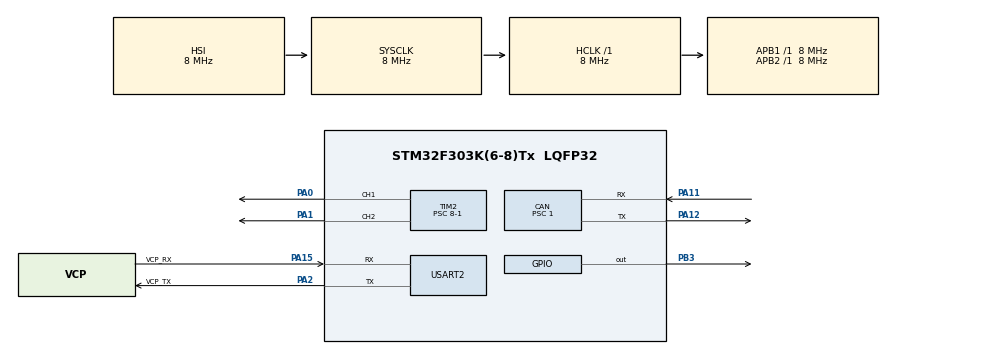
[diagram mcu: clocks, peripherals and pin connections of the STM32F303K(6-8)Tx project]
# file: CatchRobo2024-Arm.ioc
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CAN.BS1=CAN_BS1_3TQ
CAN.BS2=CAN_BS2_4TQ
CAN.CalculateBaudRate=1000000
CAN.CalculateTimeBit=1000
CAN.CalculateTimeQuantum=125.0
CAN.Prescaler=1
Mcu.Family=STM32F3
Mcu.Name=STM32F303K(6-8)Tx
Mcu.Package=LQFP32
NVIC.CAN_RX0_IRQn=true\:0\:0\:false\:false\:true\:true\:true\:true
NVIC.CAN_RX1_IRQn=true\:0\:0\:false\:false\:true\:true\:true\:true
NVIC.PriorityGroup=NVIC_PRIORITYGROUP_4
NVIC.TIM7_DAC2_IRQn=true\:15\:0\:false\:false\:true\:false\:true\:true
NVIC.TimeBase=TIM7_DAC2_IRQn
NVIC.TimeBaseIP=TIM7
PA0.Signal=S_TIM2_CH1_ETR
PA1.Signal=S_TIM2_CH2
PA11.Mode=CAN_Activate
PA11.Signal=CAN_RX
PA12.Mode=CAN_Activate
PA12.Signal=CAN_TX
PA13.GPIO_Label=SWDIO
PA13.Mode=Serial_Wire
PA13.Signal=SYS_JTMS-SWDIO
PA14.GPIO_Label=SWCLK
PA14.Mode=Serial_Wire
PA14.Signal=SYS_JTCK-SWCLK
PA15.GPIO_Label=VCP_RX
PA15.Mode=Asynchronous
PA15.Signal=USART2_RX
PA2.GPIO_Label=VCP_TX
PA2.Mode=Asynchronous
PA2.Signal=USART2_TX
PB3.Signal=GPIO_Output
PF0\ /\ OSC_IN.GPIO_Label=MCO
PF0\ /\ OSC_IN.Mode=HSE-External-Clock-Source
PF0\ /\ OSC_IN.Signal=RCC_OSC_IN
ProjectManager.HeapSize=0x200
ProjectManager.StackSize=0x400
ProjectManager.TargetToolchain=CMake
RCC.AHBFreq_Value=8000000
RCC.APB1Freq_Value=8000000
RCC.APB1TimFreq_Value=8000000
RCC.APB2Freq_Value=8000000
RCC.APB2TimFreq_Value=8000000
RCC.CortexFreq_Value=8000000
RCC.HCLKFreq_Value=8000000
RCC.HSE_VALUE=10000000
RCC.HSI_VALUE=8000000
RCC.PLLSourceVirtual=RCC_PLLSOURCE_HSE
RCC.SYSCLKFreq_VALUE=8000000
SH.S_TIM2_CH1_ETR.0=TIM2_CH1,PWM Generation1 CH1
SH.S_TIM2_CH2.0=TIM2_CH2,PWM Generation2 CH2
TIM2.Channel-PWM\ Generation1\ CH1=TIM_CHANNEL_1
TIM2.Channel-PWM\ Generation2\ CH2=TIM_CHANNEL_2
TIM2.Period=2500-1
TIM2.Prescaler=8-1
USART2.VirtualMode-Asynchronous=VM_ASYNC
VP_SYS_VS_tim7.Mode=TIM7
board=NUCLEO-F303K8

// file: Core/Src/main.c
/* USER CODE BEGIN Header */
/**
  ******************************************************************************
  * @file           : main.c
  * @brief          : Main program body
  ******************************************************************************
  * @attention
  *
  * Copyright (c) 2024 STMicroelectronics.
  * All rights reserved.
  *
  * This software is licensed under terms that can be found in the LICENSE file
  * in the root directory of this software component.
  * If no LICENSE file comes with this software, it is provided AS-IS.
  *
  ******************************************************************************
  */
/* USER CODE END Header */
#include "main.h"

/* USER CODE BEGIN PM */
#define PWM_RATIO 18
#define MAX_PWM_WIDTH 1800
#define MIN_PWM_WIDTH 1000
/* USER CODE END PM */

CAN_HandleTypeDef hcan;

TIM_HandleTypeDef htim2;

UART_HandleTypeDef huart2;

void SystemClock_Config(void);
static void MX_GPIO_Init(void);
static void MX_USART2_UART_Init(void);
static void MX_CAN_Init(void);
static void MX_TIM2_Init(void);

int main(void)
{

  /* MCU Configuration--------------------------------------------------------*/

  /* Reset of all peripherals, Initializes the Flash interface and the Systick. */
  HAL_Init();

  /* Configure the system clock */
  SystemClock_Config();

  /* Initialize all configured peripherals */
  MX_GPIO_Init();
  MX_USART2_UART_Init();
  MX_CAN_Init();
  MX_TIM2_Init();
  /* USER CODE BEGIN 2 */
  HAL_TIM_PWM_Start(&htim2, TIM_CHANNEL_1);
  HAL_TIM_PWM_Start(&htim2, TIM_CHANNEL_2);

  /* common valiables */
  uint8_t propeller_flag = 0;
  uint16_t arg_data = 0;
  uint16_t servo_pw = 0;

  uint16_t propeller_speed_pw = 0;

  uint8_t TxData[8];
  uint8_t RxData[3];

  /* CAN SetUp */
  HAL_CAN_Start(&hcan);

  CAN_TxHeaderTypeDef TxHeader;
  uint32_t TxMailbox;
  CAN_RxHeaderTypeDef RxHeader;
  CAN_FilterTypeDef filter;
  uint32_t DataId1 = 0x100 << 21;
  uint32_t DataId2 = 0x000 << 21;

  TxHeader.StdId = 0x200;
  TxHeader.RTR = CAN_RTR_DATA;
  TxHeader.IDE = CAN_ID_STD;
  TxHeader.DLC = 8;
  TxHeader.TransmitGlobalTime = DISABLE;

  TxData[0] = 0;
  TxData[1] = 0;
  TxData[2] = 0;
  TxData[3] = 0;
  TxData[4] = 0;
  TxData[5] = 0;
  TxData[6] = 0;
  TxData[7] = 0;

  filter.FilterIdHigh = DataId1 >> 16;
  filter.FilterIdLow  = DataId1;
  filter.FilterMaskIdHigh = DataId2 >> 16;
  filter.FilterMaskIdLow  = DataId2;
  filter.FilterScale = CAN_FILTERSCALE_32BIT;
  filter.FilterFIFOAssignment = CAN_FILTER_FIFO0;
  filter.FilterBank = 0;
  filter.FilterMode = CAN_FILTERMODE_IDLIST;
  filter.SlaveStartFilterBank = 14;
  filter.FilterActivation = ENABLE;

  HAL_CAN_ConfigFilter(&hcan, &filter);

  /* BLDC SetUp */
  // HAL_Delay(1500);
  TIM2->CCR2 = MAX_PWM_WIDTH;
  HAL_Delay(2000);
  TIM2->CCR1 = MIN_PWM_WIDTH;
  HAL_Delay(2000);

  /* USER CODE END 2 */

  /* Infinite loop */
  while (1)
  {

    /* USER CODE BEGIN 3 */

    if (HAL_CAN_GetRxMessage(&hcan, CAN_RX_FIFO0, &RxHeader, RxData) == HAL_OK) {
      arg_data = RxData[0] & 0x7f;
      servo_pw = arg_data * PWM_RATIO;

      propeller_flag = (RxData[0] >> 7) & 0xff;

      TxData[0] = RxData[1];
      TxData[1] = RxData[2];

      HAL_GPIO_TogglePin(GPIOB, GPIO_PIN_3);
    }

    if (HAL_CAN_GetTxMailboxesFreeLevel(&hcan) > 0) {
      TIM2->CCR1 = servo_pw;

      if (propeller_flag) {
        TIM2->CCR2 = MAX_PWM_WIDTH;
      }
      else {
        TIM2->CCR2 = MIN_PWM_WIDTH;
      }

      HAL_CAN_AddTxMessage(&hcan, &TxHeader, TxData, &TxMailbox);
    }

    HAL_Delay(50);

  }
  /* USER CODE END 3 */
}

void SystemClock_Config(void)
{
  RCC_OscInitTypeDef RCC_OscInitStruct = {0};
  RCC_ClkInitTypeDef RCC_ClkInitStruct = {0};

  /** Initializes the RCC Oscillators according to the specified parameters
  * in the RCC_OscInitTypeDef structure.
  */
  RCC_OscInitStruct.OscillatorType = RCC_OSCILLATORTYPE_HSI;
  RCC_OscInitStruct.HSIState = RCC_HSI_ON;
  RCC_OscInitStruct.HSICalibrationValue = RCC_HSICALIBRATION_DEFAULT;
  RCC_OscInitStruct.PLL.PLLState = RCC_PLL_NONE;
  if (HAL_RCC_OscConfig(&RCC_OscInitStruct) != HAL_OK)
  {
    Error_Handler();
  }

  /** Initializes the CPU, AHB and APB buses clocks
  */
  RCC_ClkInitStruct.ClockType = RCC_CLOCKTYPE_HCLK|RCC_CLOCKTYPE_SYSCLK
                              |RCC_CLOCKTYPE_PCLK1|RCC_CLOCKTYPE_PCLK2;
  RCC_ClkInitStruct.SYSCLKSource = RCC_SYSCLKSOURCE_HSI;
  RCC_ClkInitStruct.AHBCLKDivider = RCC_SYSCLK_DIV1;
  RCC_ClkInitStruct.APB1CLKDivider = RCC_HCLK_DIV1;
  RCC_ClkInitStruct.APB2CLKDivider = RCC_HCLK_DIV1;

  if (HAL_RCC_ClockConfig(&RCC_ClkInitStruct, FLASH_LATENCY_0) != HAL_OK)
  {
    Error_Handler();
  }
}

static void MX_CAN_Init(void)
{

  hcan.Instance = CAN;
  hcan.Init.Prescaler = 1;
  hcan.Init.Mode = CAN_MODE_NORMAL;
  hcan.Init.SyncJumpWidth = CAN_SJW_1TQ;
  hcan.Init.TimeSeg1 = CAN_BS1_3TQ;
  hcan.Init.TimeSeg2 = CAN_BS2_4TQ;
  hcan.Init.TimeTriggeredMode = DISABLE;
  hcan.Init.AutoBusOff = DISABLE;
  hcan.Init.AutoWakeUp = DISABLE;
  hcan.Init.AutoRetransmission = DISABLE;
  hcan.Init.ReceiveFifoLocked = DISABLE;
  hcan.Init.TransmitFifoPriority = DISABLE;
  if (HAL_CAN_Init(&hcan) != HAL_OK)
  {
    Error_Handler();
  }

}

static void MX_TIM2_Init(void)
{

  TIM_MasterConfigTypeDef sMasterConfig = {0};
  TIM_OC_InitTypeDef sConfigOC = {0};

  htim2.Instance = TIM2;
  htim2.Init.Prescaler = 8-1;
  htim2.Init.CounterMode = TIM_COUNTERMODE_UP;
  htim2.Init.Period = 2500-1;
  htim2.Init.ClockDivision = TIM_CLOCKDIVISION_DIV1;
  htim2.Init.AutoReloadPreload = TIM_AUTORELOAD_PRELOAD_DISABLE;
  if (HAL_TIM_PWM_Init(&htim2) != HAL_OK)
  {
    Error_Handler();
  }
  sMasterConfig.MasterOutputTrigger = TIM_TRGO_RESET;
  sMasterConfig.MasterSlaveMode = TIM_MASTERSLAVEMODE_DISABLE;
  if (HAL_TIMEx_MasterConfigSynchronization(&htim2, &sMasterConfig) != HAL_OK)
  {
    Error_Handler();
  }
  sConfigOC.OCMode = TIM_OCMODE_PWM1;
  sConfigOC.Pulse = 0;
  sConfigOC.OCPolarity = TIM_OCPOLARITY_HIGH;
  sConfigOC.OCFastMode = TIM_OCFAST_DISABLE;
  if (HAL_TIM_PWM_ConfigChannel(&htim2, &sConfigOC, TIM_CHANNEL_1) != HAL_OK)
  {
    Error_Handler();
  }
  if (HAL_TIM_PWM_ConfigChannel(&htim2, &sConfigOC, TIM_CHANNEL_2) != HAL_OK)
  {
    Error_Handler();
  }
  HAL_TIM_MspPostInit(&htim2);

}

static void MX_USART2_UART_Init(void)
{

  huart2.Instance = USART2;
  huart2.Init.BaudRate = 38400;
  huart2.Init.WordLength = UART_WORDLENGTH_8B;
  huart2.Init.StopBits = UART_STOPBITS_1;
  huart2.Init.Parity = UART_PARITY_NONE;
  huart2.Init.Mode = UART_MODE_TX_RX;
  huart2.Init.HwFlowCtl = UART_HWCONTROL_NONE;
  huart2.Init.OverSampling = UART_OVERSAMPLING_16;
  huart2.Init.OneBitSampling = UART_ONE_BIT_SAMPLE_DISABLE;
  huart2.AdvancedInit.AdvFeatureInit = UART_ADVFEATURE_NO_INIT;
  if (HAL_UART_Init(&huart2) != HAL_OK)
  {
    Error_Handler();
  }

}

static void MX_GPIO_Init(void)
{
  GPIO_InitTypeDef GPIO_InitStruct = {0};

  /* GPIO Ports Clock Enable */
  __HAL_RCC_GPIOF_CLK_ENABLE();
  __HAL_RCC_GPIOA_CLK_ENABLE();
  __HAL_RCC_GPIOB_CLK_ENABLE();

  /*Configure GPIO pin Output Level */
  HAL_GPIO_WritePin(GPIOB, GPIO_PIN_3, GPIO_PIN_RESET);

  /*Configure GPIO pin : PB3 */
  GPIO_InitStruct.Pin = GPIO_PIN_3;
  GPIO_InitStruct.Mode = GPIO_MODE_OUTPUT_PP;
  GPIO_InitStruct.Pull = GPIO_NOPULL;
  GPIO_InitStruct.Speed = GPIO_SPEED_FREQ_LOW;
  HAL_GPIO_Init(GPIOB, &GPIO_InitStruct);

}

void HAL_TIM_PeriodElapsedCallback(TIM_HandleTypeDef *htim)
{
  if (htim->Instance == TIM7) {
    HAL_IncTick();
  }
}

void Error_Handler(void)
{
  __disable_irq();
  while (1)
  {
  }
}
